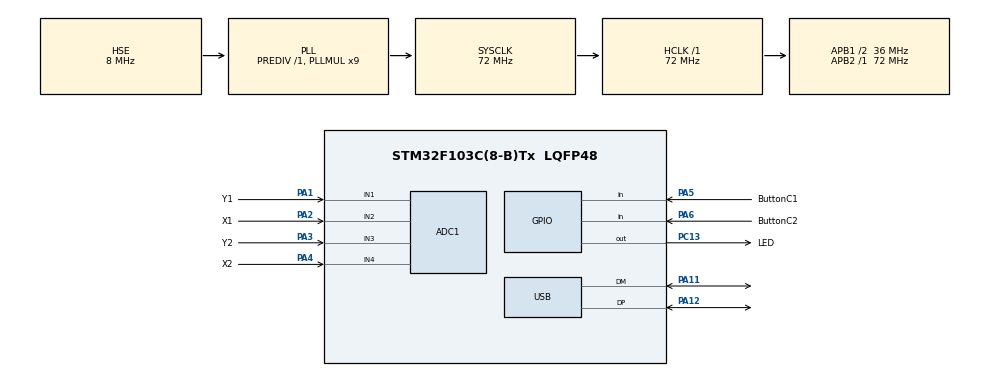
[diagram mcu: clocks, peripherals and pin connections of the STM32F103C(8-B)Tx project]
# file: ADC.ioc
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ADC1.Channel-4\#ChannelRegularConversion=ADC_CHANNEL_1
ADC1.Channel-5\#ChannelRegularConversion=ADC_CHANNEL_2
ADC1.Channel-6\#ChannelRegularConversion=ADC_CHANNEL_3
ADC1.Channel-7\#ChannelRegularConversion=ADC_CHANNEL_4
ADC1.NbrOfConversion=4
ADC1.NbrOfConversionFlag=1
ADC1.Rank-4\#ChannelRegularConversion=1
ADC1.Rank-5\#ChannelRegularConversion=2
ADC1.Rank-6\#ChannelRegularConversion=3
ADC1.Rank-7\#ChannelRegularConversion=4
ADC1.SamplingTime-4\#ChannelRegularConversion=ADC_SAMPLETIME_239CYCLES_5
ADC1.SamplingTime-5\#ChannelRegularConversion=ADC_SAMPLETIME_239CYCLES_5
ADC1.SamplingTime-6\#ChannelRegularConversion=ADC_SAMPLETIME_239CYCLES_5
ADC1.SamplingTime-7\#ChannelRegularConversion=ADC_SAMPLETIME_239CYCLES_5
ADC1.master=1
Dma.ADC1.0.Direction=DMA_PERIPH_TO_MEMORY
Dma.ADC1.0.Instance=DMA1_Channel1
Dma.ADC1.0.MemDataAlignment=DMA_MDATAALIGN_WORD
Dma.ADC1.0.MemInc=DMA_MINC_ENABLE
Dma.ADC1.0.Mode=DMA_CIRCULAR
Dma.ADC1.0.PeriphDataAlignment=DMA_PDATAALIGN_WORD
Dma.ADC1.0.PeriphInc=DMA_PINC_DISABLE
Dma.ADC1.0.Priority=DMA_PRIORITY_MEDIUM
Dma.Request0=ADC1
Mcu.Family=STM32F1
Mcu.Name=STM32F103C(8-B)Tx
Mcu.Package=LQFP48
NVIC.ADC1_2_IRQn=true\:0\:0\:false\:false\:true\:true\:true\:true
NVIC.DMA1_Channel1_IRQn=true\:0\:0\:false\:false\:true\:false\:true\:true
NVIC.PriorityGroup=NVIC_PRIORITYGROUP_4
NVIC.USB_LP_CAN1_RX0_IRQn=true\:0\:0\:false\:false\:true\:false\:true\:true
PA1.GPIO_Label=Y1
PA1.Signal=ADCx_IN1
PA11.Mode=Device
PA11.Signal=USB_DM
PA12.Mode=Device
PA12.Signal=USB_DP
PA13.Mode=Serial_Wire
PA13.Signal=SYS_JTMS-SWDIO
PA14.Mode=Serial_Wire
PA14.Signal=SYS_JTCK-SWCLK
PA2.GPIO_Label=X1
PA2.Signal=ADCx_IN2
PA3.GPIO_Label=Y2
PA3.Signal=ADCx_IN3
PA4.GPIO_Label=X2
PA4.Signal=ADCx_IN4
PA5.GPIO_Label=ButtonC1
PA5.GPIO_PuPd=GPIO_PULLUP
PA5.Signal=GPIO_Input
PA6.GPIO_Label=ButtonC2
PA6.GPIO_PuPd=GPIO_PULLUP
PA6.Signal=GPIO_Input
PC13-TAMPER-RTC.GPIO_Label=LED
PC13-TAMPER-RTC.GPIO_PuPd=GPIO_NOPULL
PC13-TAMPER-RTC.PinState=GPIO_PIN_RESET
PC13-TAMPER-RTC.Signal=GPIO_Output
PC14-OSC32_IN.Mode=LSE-External-Oscillator
PC14-OSC32_IN.Signal=RCC_OSC32_IN
PC15-OSC32_OUT.Mode=LSE-External-Oscillator
PC15-OSC32_OUT.Signal=RCC_OSC32_OUT
PD0-OSC_IN.Mode=HSE-External-Oscillator
PD0-OSC_IN.Signal=RCC_OSC_IN
PD1-OSC_OUT.Mode=HSE-External-Oscillator
PD1-OSC_OUT.Signal=RCC_OSC_OUT
ProjectManager.HeapSize=0x200
ProjectManager.StackSize=0x400
ProjectManager.TargetToolchain=STM32CubeIDE
RCC.ADCPresc=RCC_ADCPCLK2_DIV6
RCC.AHBFreq_Value=72000000
RCC.APB1CLKDivider=RCC_HCLK_DIV2
RCC.APB1Freq_Value=36000000
RCC.APB1TimFreq_Value=72000000
RCC.APB2Freq_Value=72000000
RCC.APB2TimFreq_Value=72000000
RCC.HCLKFreq_Value=72000000
RCC.PLLMUL=RCC_PLL_MUL9
RCC.PLLSourceVirtual=RCC_PLLSOURCE_HSE
RCC.SYSCLKFreq_VALUE=72000000
RCC.SYSCLKSource=RCC_SYSCLKSOURCE_PLLCLK
RCC.USBFreq_Value=48000000
RCC.USBPrescaler=RCC_USBCLKSOURCE_PLL_DIV1_5
SH.ADCx_IN1.0=ADC1_IN1,IN1
SH.ADCx_IN2.0=ADC1_IN2,IN2
SH.ADCx_IN3.0=ADC1_IN3,IN3
SH.ADCx_IN4.0=ADC1_IN4,IN4
USB_DEVICE.CLASS_NAME_FS=CUSTOM_HID
USB_DEVICE.VirtualMode=CustomHid
USB_DEVICE.VirtualModeFS=Custom_Hid_FS
VP_USB_DEVICE_VS_USB_DEVICE_CUSTOM_HID_FS.Mode=CUSTOM_HID_FS
board=custom

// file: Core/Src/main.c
/* USER CODE BEGIN Header */
/**
 ******************************************************************************
 * @file           : main.c
 * @brief          : Main program body
 ******************************************************************************
 * @attention
 *
 * Copyright (c) 2024 STMicroelectronics.
 * All rights reserved.
 *
 * This software is licensed under terms that can be found in the LICENSE file
 * in the root directory of this software component.
 * If no LICENSE file comes with this software, it is provided AS-IS.
 *
 ******************************************************************************
 */
/* USER CODE END Header */
#include "main.h"
#include "usb_device.h"

/* USER CODE BEGIN Includes */
#include "stdbool.h"
#include "string.h"
#include "usbd_customhid.h"

#define QTY_Joysticks 2
#define Mapping_PWM_Value_Min 800
#define Mapping_PWM_Value_Max 1500
#define Not_Initialized -1
#define Dead_Zone_Percents 5

/* USER CODE END Includes */

/* USER CODE BEGIN PTD */
uint32_t ADC_XY_Joystick[QTY_Joysticks * 2];
struct min_max_struct {
	int32_t Min_X;
	int32_t Max_X;
	int32_t Min_Y;
	int32_t Max_Y;
} ADC_MIN_MAX_XY_Joystick[QTY_Joysticks];
struct pwm_multiplier_struct {
	float K_X;
	float L_X;
	int32_t Dead_Min_X;
	int32_t Dead_Max_X;
	float K_Y;
	float L_Y;
	int32_t Dead_Min_Y;
	int32_t Dead_Max_Y;
} PWM_XY_Joystick_Multiplier[QTY_Joysticks];
struct pwm_xy_struct {
	uint32_t X;
	uint32_t Y;
} PWM_XY_Joystick[QTY_Joysticks];

bool Calibration_Mode = false;
bool Begin_Change_Mode = false;
uint32_t Button_Calibration_Time[4] = { 0, 0, 0, 0 };
bool Button_Calibration_Status[4] = { false, false, false, false };
uint8_t buffer[4]={0,0,0,0};

/* USER CODE END PTD */

ADC_HandleTypeDef hadc1;
DMA_HandleTypeDef hdma_adc1;

void SystemClock_Config(void);
static void MX_GPIO_Init(void);
static void MX_DMA_Init(void);
static void MX_ADC1_Init(void);
/* USER CODE BEGIN PFP */
void Joystick_Data_Init(void);
/* USER CODE END PFP */

/* USER CODE BEGIN 0 */
extern USBD_HandleTypeDef hUsbDeviceFS;

void HAL_ADC_ConvCpltCallback(ADC_HandleTypeDef *hadc) {
	if (hadc->Instance == ADC1) {
		HAL_ADC_Start_DMA(&hadc1, ADC_XY_Joystick, QTY_Joysticks * 2);
	}
}

void setStatusLED(void) {
	if (Calibration_Mode) {
		HAL_GPIO_WritePin(LED_GPIO_Port, LED_Pin, GPIO_PIN_RESET);
	} else {
		HAL_GPIO_WritePin(LED_GPIO_Port, LED_Pin, GPIO_PIN_SET);
	}
}

/* USER CODE END 0 */

int main(void)
{

  /* USER CODE BEGIN 1 */
	void Calibrate_MIN_MAX_ADC_XY_Joystick(void) {
		uint8_t Joystick_Number;
		uint32_t Joystick_X, Joystick_Y;
		int32_t Length_L1 = Mapping_PWM_Value_Max - Mapping_PWM_Value_Min,
				Length_L2 = 0;
		float K = 0;

		for (int index = 0; index < QTY_Joysticks; ++index) {
			Joystick_Number = index * 2;
			Joystick_X = ADC_XY_Joystick[Joystick_Number];
			Joystick_Y = ADC_XY_Joystick[Joystick_Number + 1];

			if (ADC_MIN_MAX_XY_Joystick[index].Min_X
					> Joystick_X|| ADC_MIN_MAX_XY_Joystick[index].Min_X == Not_Initialized) {
				ADC_MIN_MAX_XY_Joystick[index].Min_X = Joystick_X;
			}
			if (ADC_MIN_MAX_XY_Joystick[index].Max_X
					< Joystick_X|| ADC_MIN_MAX_XY_Joystick[index].Max_X == Not_Initialized) {
				ADC_MIN_MAX_XY_Joystick[index].Max_X = Joystick_X;
			}
			Length_L2 = ADC_MIN_MAX_XY_Joystick[index].Max_X
					- ADC_MIN_MAX_XY_Joystick[index].Min_X;
			if (Length_L2 != 0) {
				K = (float) (Length_L1 / Length_L2);
				PWM_XY_Joystick_Multiplier[index].K_X = K;
				PWM_XY_Joystick_Multiplier[index].L_X =
						(float) (Mapping_PWM_Value_Min
								- ADC_MIN_MAX_XY_Joystick[index].Min_X * K);
			}

			if (ADC_MIN_MAX_XY_Joystick[index].Min_Y
					> Joystick_Y|| ADC_MIN_MAX_XY_Joystick[index].Min_Y == Not_Initialized) {
				ADC_MIN_MAX_XY_Joystick[index].Min_Y = Joystick_Y;
			}
			if (ADC_MIN_MAX_XY_Joystick[index].Max_Y
					< Joystick_Y|| ADC_MIN_MAX_XY_Joystick[index].Max_Y == Not_Initialized) {
				ADC_MIN_MAX_XY_Joystick[index].Max_Y = Joystick_Y;
			}
			Length_L2 = ADC_MIN_MAX_XY_Joystick[index].Max_Y
					- ADC_MIN_MAX_XY_Joystick[index].Min_Y;
			if (Length_L2 != 0) {
				K = (float) (Length_L1 / Length_L2);
				PWM_XY_Joystick_Multiplier[index].K_Y = K;
				PWM_XY_Joystick_Multiplier[index].L_Y =
						(float) (Mapping_PWM_Value_Min
								- ADC_MIN_MAX_XY_Joystick[index].Min_Y * K);
			}
		}
	}

	void Count_PWM_XY_Joystick(void) {
//		uint8_t Joystick_Number;
//		uint32_t Joystick_X, Joystick_Y;
//
//		for (int index = 0; index < QTY_Joysticks; ++index) {
//			Joystick_Number = index * 2;
//			Joystick_X = ADC_XY_Joystick[Joystick_Number];
//			Joystick_Y = ADC_XY_Joystick[Joystick_Number + 1];
//
//			if (PWM_XY_Joystick_Multiplier[index].K_X != Not_Initialized
//					&& PWM_XY_Joystick_Multiplier[index].L_X != Not_Initialized) {
//				PWM_XY_Joystick[index].X = Joystick_X
//						* PWM_XY_Joystick_Multiplier[index].K_X
//						+ PWM_XY_Joystick_Multiplier[index].L_X;
//			}
//			if (PWM_XY_Joystick_Multiplier[index].K_Y != Not_Initialized
//					&& PWM_XY_Joystick_Multiplier[index].L_Y != Not_Initialized) {
//				PWM_XY_Joystick[index].Y = Joystick_Y
//						* PWM_XY_Joystick_Multiplier[index].K_Y
//						+ PWM_XY_Joystick_Multiplier[index].L_Y;
//			}
//		}
		buffer[0] = 0x00;  //Buttons
		buffer[1] = 0x00;  //Buttons
		buffer[2] = 0;       //  X Axis
		buffer[3] = 0;       //  Y Axis

		USBD_CUSTOM_HID_SendReport(&hUsbDeviceFS, buffer, sizeof(buffer));
		HAL_Delay(10);
	}

	void Check_Calibration_Buttons(void) {
		bool Button_Status[2] = { false, false };
		Button_Status[0] = !HAL_GPIO_ReadPin(GPIOA, ButtonC1_Pin);
		Button_Status[1] = !HAL_GPIO_ReadPin(GPIOA, ButtonC2_Pin);

		for (int index = 0; index < 2; ++index) {
			if (Button_Status[index]) {
				if (Button_Calibration_Time[index] > 0
						&& HAL_GetTick() - Button_Calibration_Time[index]
								> 20) {
					Button_Calibration_Status[index] = true;
					if (HAL_GetTick() - Button_Calibration_Time[index + 2]
							> 5000) {
						Button_Calibration_Status[index + 2] = true;

					} else {
						Button_Calibration_Status[index + 2] = false;
					}
				} else {
					Button_Calibration_Status[index] = false;
					Button_Calibration_Status[index + 2] = false;
					if (Button_Calibration_Time[index] == 0) {
						Begin_Change_Mode = true;
						Button_Calibration_Time[index] = HAL_GetTick();
						Button_Calibration_Time[index + 2] = HAL_GetTick();
					}
				}
			} else {
				Button_Calibration_Time[index] = 0;
				Button_Calibration_Status[index] = false;
				Button_Calibration_Time[index + 2] = 0;
				Button_Calibration_Status[index + 2] = false;
				Begin_Change_Mode = false;
			}
		}

		if (Begin_Change_Mode && Button_Calibration_Status[2]
				&& Button_Calibration_Status[3]) {
			Begin_Change_Mode = false;
			Calibration_Mode = !Calibration_Mode;
		}
		setStatusLED();
	}

  /* USER CODE END 1 */

  /* MCU Configuration--------------------------------------------------------*/

  /* Reset of all peripherals, Initializes the Flash interface and the Systick. */
  HAL_Init();

  /* USER CODE BEGIN Init */
	Joystick_Data_Init();
  /* USER CODE END Init */

  /* Configure the system clock */
  SystemClock_Config();

  /* Initialize all configured peripherals */
  MX_GPIO_Init();
  MX_DMA_Init();
  MX_ADC1_Init();
  MX_USB_DEVICE_Init();
  /* USER CODE BEGIN 2 */
	HAL_ADCEx_Calibration_Start(&hadc1);
	HAL_ADC_Start_DMA(&hadc1, ADC_XY_Joystick, QTY_Joysticks * 2);
	HAL_ADC_Start_IT(&hadc1);
	setStatusLED();

  /* USER CODE END 2 */

  /* Infinite loop */
	while (1) {

    /* USER CODE BEGIN 3 */
		Check_Calibration_Buttons();
		if (Calibration_Mode) {
			Calibrate_MIN_MAX_ADC_XY_Joystick();
		} else {
			Count_PWM_XY_Joystick();
		}
	}
  /* USER CODE END 3 */
}

void SystemClock_Config(void)
{
  RCC_OscInitTypeDef RCC_OscInitStruct = {0};
  RCC_ClkInitTypeDef RCC_ClkInitStruct = {0};
  RCC_PeriphCLKInitTypeDef PeriphClkInit = {0};

  /** Initializes the RCC Oscillators according to the specified parameters
  * in the RCC_OscInitTypeDef structure.
  */
  RCC_OscInitStruct.OscillatorType = RCC_OSCILLATORTYPE_HSE;
  RCC_OscInitStruct.HSEState = RCC_HSE_ON;
  RCC_OscInitStruct.HSEPredivValue = RCC_HSE_PREDIV_DIV1;
  RCC_OscInitStruct.HSIState = RCC_HSI_ON;
  RCC_OscInitStruct.PLL.PLLState = RCC_PLL_ON;
  RCC_OscInitStruct.PLL.PLLSource = RCC_PLLSOURCE_HSE;
  RCC_OscInitStruct.PLL.PLLMUL = RCC_PLL_MUL9;
  if (HAL_RCC_OscConfig(&RCC_OscInitStruct) != HAL_OK)
  {
    Error_Handler();
  }

  /** Initializes the CPU, AHB and APB buses clocks
  */
  RCC_ClkInitStruct.ClockType = RCC_CLOCKTYPE_HCLK|RCC_CLOCKTYPE_SYSCLK
                              |RCC_CLOCKTYPE_PCLK1|RCC_CLOCKTYPE_PCLK2;
  RCC_ClkInitStruct.SYSCLKSource = RCC_SYSCLKSOURCE_PLLCLK;
  RCC_ClkInitStruct.AHBCLKDivider = RCC_SYSCLK_DIV1;
  RCC_ClkInitStruct.APB1CLKDivider = RCC_HCLK_DIV2;
  RCC_ClkInitStruct.APB2CLKDivider = RCC_HCLK_DIV1;

  if (HAL_RCC_ClockConfig(&RCC_ClkInitStruct, FLASH_LATENCY_2) != HAL_OK)
  {
    Error_Handler();
  }
  PeriphClkInit.PeriphClockSelection = RCC_PERIPHCLK_ADC|RCC_PERIPHCLK_USB;
  PeriphClkInit.AdcClockSelection = RCC_ADCPCLK2_DIV6;
  PeriphClkInit.UsbClockSelection = RCC_USBCLKSOURCE_PLL_DIV1_5;
  if (HAL_RCCEx_PeriphCLKConfig(&PeriphClkInit) != HAL_OK)
  {
    Error_Handler();
  }
}

static void MX_ADC1_Init(void)
{

  ADC_ChannelConfTypeDef sConfig = {0};

  /** Common config
  */
  hadc1.Instance = ADC1;
  hadc1.Init.ScanConvMode = ADC_SCAN_ENABLE;
  hadc1.Init.ContinuousConvMode = DISABLE;
  hadc1.Init.DiscontinuousConvMode = DISABLE;
  hadc1.Init.ExternalTrigConv = ADC_SOFTWARE_START;
  hadc1.Init.DataAlign = ADC_DATAALIGN_RIGHT;
  hadc1.Init.NbrOfConversion = 4;
  if (HAL_ADC_Init(&hadc1) != HAL_OK)
  {
    Error_Handler();
  }

  /** Configure Regular Channel
  */
  sConfig.Channel = ADC_CHANNEL_1;
  sConfig.Rank = ADC_REGULAR_RANK_1;
  sConfig.SamplingTime = ADC_SAMPLETIME_239CYCLES_5;
  if (HAL_ADC_ConfigChannel(&hadc1, &sConfig) != HAL_OK)
  {
    Error_Handler();
  }

  /** Configure Regular Channel
  */
  sConfig.Channel = ADC_CHANNEL_2;
  sConfig.Rank = ADC_REGULAR_RANK_2;
  if (HAL_ADC_ConfigChannel(&hadc1, &sConfig) != HAL_OK)
  {
    Error_Handler();
  }

  /** Configure Regular Channel
  */
  sConfig.Channel = ADC_CHANNEL_3;
  sConfig.Rank = ADC_REGULAR_RANK_3;
  if (HAL_ADC_ConfigChannel(&hadc1, &sConfig) != HAL_OK)
  {
    Error_Handler();
  }

  /** Configure Regular Channel
  */
  sConfig.Channel = ADC_CHANNEL_4;
  sConfig.Rank = ADC_REGULAR_RANK_4;
  if (HAL_ADC_ConfigChannel(&hadc1, &sConfig) != HAL_OK)
  {
    Error_Handler();
  }

}

static void MX_DMA_Init(void)
{

  /* DMA controller clock enable */
  __HAL_RCC_DMA1_CLK_ENABLE();

  /* DMA interrupt init */
  /* DMA1_Channel1_IRQn interrupt configuration */
  HAL_NVIC_SetPriority(DMA1_Channel1_IRQn, 0, 0);
  HAL_NVIC_EnableIRQ(DMA1_Channel1_IRQn);

}

static void MX_GPIO_Init(void)
{
  GPIO_InitTypeDef GPIO_InitStruct = {0};

  /* GPIO Ports Clock Enable */
  __HAL_RCC_GPIOC_CLK_ENABLE();
  __HAL_RCC_GPIOD_CLK_ENABLE();
  __HAL_RCC_GPIOA_CLK_ENABLE();

  /*Configure GPIO pin Output Level */
  HAL_GPIO_WritePin(LED_GPIO_Port, LED_Pin, GPIO_PIN_RESET);

  /*Configure GPIO pin : LED_Pin */
  GPIO_InitStruct.Pin = LED_Pin;
  GPIO_InitStruct.Mode = GPIO_MODE_OUTPUT_PP;
  GPIO_InitStruct.Pull = GPIO_NOPULL;
  GPIO_InitStruct.Speed = GPIO_SPEED_FREQ_LOW;
  HAL_GPIO_Init(LED_GPIO_Port, &GPIO_InitStruct);

  /*Configure GPIO pins : ButtonC1_Pin ButtonC2_Pin */
  GPIO_InitStruct.Pin = ButtonC1_Pin|ButtonC2_Pin;
  GPIO_InitStruct.Mode = GPIO_MODE_INPUT;
  GPIO_InitStruct.Pull = GPIO_PULLUP;
  HAL_GPIO_Init(GPIOA, &GPIO_InitStruct);

}

/* USER CODE BEGIN 4 */
void Joystick_Data_Init(void) {
	for (int index = 0; index < QTY_Joysticks; ++index) {
		ADC_MIN_MAX_XY_Joystick[index].Min_X = Not_Initialized;
		ADC_MIN_MAX_XY_Joystick[index].Max_X = Not_Initialized;
		ADC_MIN_MAX_XY_Joystick[index].Min_Y = Not_Initialized;
		ADC_MIN_MAX_XY_Joystick[index].Max_Y = Not_Initialized;

		PWM_XY_Joystick_Multiplier[index].K_X = Not_Initialized;
		PWM_XY_Joystick_Multiplier[index].L_X = Not_Initialized;
		PWM_XY_Joystick_Multiplier[index].Dead_Min_X = Not_Initialized;
		PWM_XY_Joystick_Multiplier[index].Dead_Max_X = Not_Initialized;
		PWM_XY_Joystick_Multiplier[index].K_Y = Not_Initialized;
		PWM_XY_Joystick_Multiplier[index].L_Y = Not_Initialized;
		PWM_XY_Joystick_Multiplier[index].Dead_Min_Y = Not_Initialized;
		PWM_XY_Joystick_Multiplier[index].Dead_Max_Y = Not_Initialized;

		PWM_XY_Joystick[index].X = Not_Initialized;
		PWM_XY_Joystick[index].Y = Not_Initialized;
	}
}

/* USER CODE END 4 */

void Error_Handler(void)
{
	__disable_irq();
	while (1) {
	}
}
